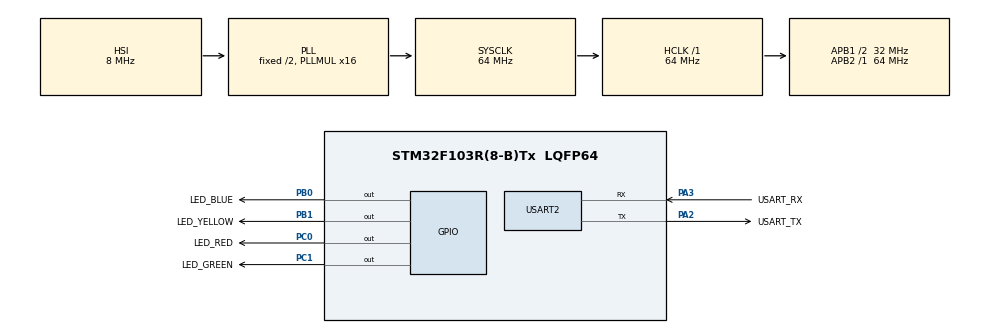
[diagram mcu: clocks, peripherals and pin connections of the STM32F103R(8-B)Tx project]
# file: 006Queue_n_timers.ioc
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Mcu.Family=STM32F1
Mcu.Name=STM32F103R(8-B)Tx
Mcu.Package=LQFP64
NVIC.PriorityGroup=NVIC_PRIORITYGROUP_4
NVIC.TIM4_IRQn=true\:15\:0\:false\:false\:true\:false\:true\:true
NVIC.TimeBase=TIM4_IRQn
NVIC.TimeBaseIP=TIM4
NVIC.USART2_IRQn=true\:6\:0\:true\:false\:true\:true\:true\:true
PA13.GPIO_Label=TMS
PA13.Mode=Serial_Wire
PA13.Signal=SYS_JTMS-SWDIO
PA14.GPIO_Label=TCK
PA14.Mode=Serial_Wire
PA14.Signal=SYS_JTCK-SWCLK
PA2.GPIO_Label=USART_TX
PA2.GPIO_Mode=GPIO_MODE_AF_PP
PA2.GPIO_PuPd=GPIO_NOPULL
PA2.GPIO_Speed=GPIO_SPEED_FREQ_LOW
PA2.Mode=Asynchronous
PA2.Signal=USART2_TX
PA3.GPIO_Label=USART_RX
PA3.GPIO_Mode=GPIO_MODE_AF_PP
PA3.GPIO_PuPd=GPIO_NOPULL
PA3.GPIO_Speed=GPIO_SPEED_FREQ_LOW
PA3.Mode=Asynchronous
PA3.Signal=USART2_RX
PB0.GPIO_Label=LED_BLUE
PB0.Signal=GPIO_Output
PB1.GPIO_Label=LED_YELLOW
PB1.Signal=GPIO_Output
PB3.GPIO_Label=SWO
PB3.Signal=SYS_JTDO-TRACESWO
PC0.GPIO_Label=LED_RED
PC0.Signal=GPIO_Output
PC1.GPIO_Label=LED_GREEN
PC1.Signal=GPIO_Output
PC14-OSC32_IN.Signal=RCC_OSC32_IN
PC15-OSC32_OUT.Signal=RCC_OSC32_OUT
PD0-OSC_IN.Signal=RCC_OSC_IN
PD1-OSC_OUT.Signal=RCC_OSC_OUT
ProjectManager.HeapSize=0x200
ProjectManager.StackSize=0x400
ProjectManager.TargetToolchain=STM32CubeIDE
RCC.AHBFreq_Value=64000000
RCC.APB1CLKDivider=RCC_HCLK_DIV2
RCC.APB1Freq_Value=32000000
RCC.APB1TimFreq_Value=64000000
RCC.APB2Freq_Value=64000000
RCC.APB2TimFreq_Value=64000000
RCC.HCLKFreq_Value=64000000
RCC.PLLMUL=RCC_PLL_MUL16
RCC.SYSCLKFreq_VALUE=64000000
RCC.SYSCLKSource=RCC_SYSCLKSOURCE_PLLCLK
RCC.USBFreq_Value=64000000
USART2.VirtualMode=VM_ASYNC
VP_RTC_VS_RTC_Activate.Mode=RTC_Enabled
VP_SYS_VS_tim4.Mode=TIM4
board=NUCLEO-F103RB

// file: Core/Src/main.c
/* USER CODE BEGIN Header */
/**
  ******************************************************************************
  * @file           : main.c
  * @brief          : Main program body
  ******************************************************************************
  * @attention
  *
  * Copyright (c) 2025 STMicroelectronics.
  * All rights reserved.
  *
  * This software is licensed under terms that can be found in the LICENSE file
  * in the root directory of this software component.
  * If no LICENSE file comes with this software, it is provided AS-IS.
  *
  ******************************************************************************
  */
/* USER CODE END Header */
#include "main.h"

/* USER CODE BEGIN Includes */
#include "FreeRTOS.h"
#include "task.h"
#include "queue.h"
/* USER CODE END Includes */

RTC_HandleTypeDef hrtc;

UART_HandleTypeDef huart2;

void SystemClock_Config(void);
static void MX_GPIO_Init(void);
static void MX_USART2_UART_Init(void);
static void MX_RTC_Init(void);
/* USER CODE BEGIN PFP */
void rtc_report_callback(TimerHandle_t xTimer);
void led_effect_callback(TimerHandle_t xTimer);
/* USER CODE END PFP */

/* USER CODE BEGIN 0 */
//#define DWT_CTRL	(*(volatile uint32_t*) 0xE0001000)

TaskHandle_t handle_menu_task;
TaskHandle_t handle_cmd_task;
TaskHandle_t handle_print_task;
TaskHandle_t handle_led_effect_task;
TaskHandle_t handle_rtc_task;

QueueHandle_t q_data;
QueueHandle_t q_print;

TimerHandle_t handle_led_timer[4];
TimerHandle_t rtc_timer;

volatile uint8_t user_data;

state_t curr_state = sMainMenu;
/* USER CODE END 0 */

int main(void)
{

  /* USER CODE BEGIN 1 */
  BaseType_t status;
  /* USER CODE END 1 */

  /* MCU Configuration--------------------------------------------------------*/

  /* Reset of all peripherals, Initializes the Flash interface and the Systick. */
  HAL_Init();

  /* Configure the system clock */
  SystemClock_Config();

  /* Initialize all configured peripherals */
  MX_GPIO_Init();
  MX_USART2_UART_Init();
  MX_RTC_Init();
  /* USER CODE BEGIN 2 */

  HAL_NVIC_SetPriorityGrouping(NVIC_PRIORITYGROUP_4);
  HAL_NVIC_SetPriority(PendSV_IRQn,  15, 0);
  HAL_NVIC_SetPriority(SysTick_IRQn, 15, 0);

  status = xTaskCreate(menu_task, "menu_task", 250, NULL, 2, &handle_menu_task);

  configASSERT(status == pdPASS);

  status = xTaskCreate(cmd_handler_task, "cmd_task", 250, NULL, 2, &handle_cmd_task);

  configASSERT(status == pdPASS);

  status = xTaskCreate(print_task, "print_task", 250, NULL, 2, &handle_print_task);

  configASSERT(status == pdPASS);

  status = xTaskCreate(led_effect_task, "LED_EFFECT_task", 250, NULL, 2, &handle_led_effect_task);

  configASSERT(status == pdPASS);

  status = xTaskCreate(rtc_task, "rtc_task", 250, NULL, 2, &handle_rtc_task);

  configASSERT(status == pdPASS);

  q_data = xQueueCreate(10, sizeof(char));

  configASSERT(q_data != NULL);

  q_print = xQueueCreate(10, sizeof(size_t));

  configASSERT(q_print != NULL);

  //create software timers
  for(int i=0; i<4; i++)
  {
	  handle_led_timer[i] = xTimerCreate("led_timer", pdMS_TO_TICKS(500), pdTRUE, (void*)(i+1), led_effect_callback);
  }

  rtc_timer = xTimerCreate ("rtc_report_timer",pdMS_TO_TICKS(1000),pdTRUE,NULL,rtc_report_callback);

  HAL_UART_Receive_IT(&huart2, (uint8_t *)&user_data, 1);

  vTaskStartScheduler();

  /* USER CODE END 2 */

  /* Infinite loop */
  while (1)
  {

  }
}

void SystemClock_Config(void)
{
  RCC_OscInitTypeDef RCC_OscInitStruct = {0};
  RCC_ClkInitTypeDef RCC_ClkInitStruct = {0};
  RCC_PeriphCLKInitTypeDef PeriphClkInit = {0};

  /** Initializes the RCC Oscillators according to the specified parameters
  * in the RCC_OscInitTypeDef structure.
  */
  RCC_OscInitStruct.OscillatorType = RCC_OSCILLATORTYPE_HSI|RCC_OSCILLATORTYPE_LSI;
  RCC_OscInitStruct.HSIState = RCC_HSI_ON;
  RCC_OscInitStruct.HSICalibrationValue = RCC_HSICALIBRATION_DEFAULT;
  RCC_OscInitStruct.LSIState = RCC_LSI_ON;
  RCC_OscInitStruct.PLL.PLLState = RCC_PLL_ON;
  RCC_OscInitStruct.PLL.PLLSource = RCC_PLLSOURCE_HSI_DIV2;
  RCC_OscInitStruct.PLL.PLLMUL = RCC_PLL_MUL16;
  if (HAL_RCC_OscConfig(&RCC_OscInitStruct) != HAL_OK)
  {
    Error_Handler();
  }

  /** Initializes the CPU, AHB and APB buses clocks
  */
  RCC_ClkInitStruct.ClockType = RCC_CLOCKTYPE_HCLK|RCC_CLOCKTYPE_SYSCLK
                              |RCC_CLOCKTYPE_PCLK1|RCC_CLOCKTYPE_PCLK2;
  RCC_ClkInitStruct.SYSCLKSource = RCC_SYSCLKSOURCE_PLLCLK;
  RCC_ClkInitStruct.AHBCLKDivider = RCC_SYSCLK_DIV1;
  RCC_ClkInitStruct.APB1CLKDivider = RCC_HCLK_DIV2;
  RCC_ClkInitStruct.APB2CLKDivider = RCC_HCLK_DIV1;

  if (HAL_RCC_ClockConfig(&RCC_ClkInitStruct, FLASH_LATENCY_2) != HAL_OK)
  {
    Error_Handler();
  }
  PeriphClkInit.PeriphClockSelection = RCC_PERIPHCLK_RTC;
  PeriphClkInit.RTCClockSelection = RCC_RTCCLKSOURCE_LSI;
  if (HAL_RCCEx_PeriphCLKConfig(&PeriphClkInit) != HAL_OK)
  {
    Error_Handler();
  }
}

static void MX_RTC_Init(void)
{

  /** Initialize RTC Only
  */
  hrtc.Instance = RTC;
  hrtc.Init.AsynchPrediv = RTC_AUTO_1_SECOND;
  hrtc.Init.OutPut = RTC_OUTPUTSOURCE_ALARM;
  if (HAL_RTC_Init(&hrtc) != HAL_OK)
  {
    Error_Handler();
  }

}

static void MX_USART2_UART_Init(void)
{

  huart2.Instance = USART2;
  huart2.Init.BaudRate = 115200;
  huart2.Init.WordLength = UART_WORDLENGTH_8B;
  huart2.Init.StopBits = UART_STOPBITS_1;
  huart2.Init.Parity = UART_PARITY_NONE;
  huart2.Init.Mode = UART_MODE_TX_RX;
  huart2.Init.HwFlowCtl = UART_HWCONTROL_NONE;
  huart2.Init.OverSampling = UART_OVERSAMPLING_16;
  if (HAL_UART_Init(&huart2) != HAL_OK)
  {
    Error_Handler();
  }

}

static void MX_GPIO_Init(void)
{
  GPIO_InitTypeDef GPIO_InitStruct = {0};

  /* GPIO Ports Clock Enable */
  __HAL_RCC_GPIOC_CLK_ENABLE();
  __HAL_RCC_GPIOD_CLK_ENABLE();
  __HAL_RCC_GPIOA_CLK_ENABLE();
  __HAL_RCC_GPIOB_CLK_ENABLE();

  /*Configure GPIO pin Output Level */
  HAL_GPIO_WritePin(GPIOC, LED_RED_Pin|LED_GREEN_Pin, GPIO_PIN_RESET);

  /*Configure GPIO pin Output Level */
  HAL_GPIO_WritePin(GPIOB, LED_BLUE_Pin|LED_YELLOW_Pin, GPIO_PIN_RESET);

  /*Configure GPIO pins : LED_RED_Pin LED_GREEN_Pin */
  GPIO_InitStruct.Pin = LED_RED_Pin|LED_GREEN_Pin;
  GPIO_InitStruct.Mode = GPIO_MODE_OUTPUT_PP;
  GPIO_InitStruct.Pull = GPIO_NOPULL;
  GPIO_InitStruct.Speed = GPIO_SPEED_FREQ_LOW;
  HAL_GPIO_Init(GPIOC, &GPIO_InitStruct);

  /*Configure GPIO pins : LED_BLUE_Pin LED_YELLOW_Pin */
  GPIO_InitStruct.Pin = LED_BLUE_Pin|LED_YELLOW_Pin;
  GPIO_InitStruct.Mode = GPIO_MODE_OUTPUT_PP;
  GPIO_InitStruct.Pull = GPIO_NOPULL;
  GPIO_InitStruct.Speed = GPIO_SPEED_FREQ_LOW;
  HAL_GPIO_Init(GPIOB, &GPIO_InitStruct);

}

/* USER CODE BEGIN 4 */
void rtc_report_callback( TimerHandle_t xTimer )
{
	show_time_date_itm();
}

void led_effect_callback(TimerHandle_t xTimer)
{
	 int id;
	 id = ( uint32_t ) pvTimerGetTimerID( xTimer );

	 switch(id)
	 {
	 case 1 :
		 LED_effect1();
		 break;
	 case 2:
		 LED_effect2();
		 break;
	 case 3:
		 LED_effect3();
		 break;
	 case 4:
		 LED_effect4();
		 break;
	 }
}

void HAL_UART_RxCpltCallback(UART_HandleTypeDef *huart)
{
	uint8_t dummy;

	for(uint32_t i = 0 ; i < 4000 ; i++);

	if(! xQueueIsQueueFullFromISR(q_data))
	{
		/*Enqueue data byte */
		xQueueSendFromISR(q_data , (void*)&user_data , NULL);
	}else{
		if(user_data == '\n')
		{
			/*Make sure that last data byte of the queue is '\n' */
			xQueueReceiveFromISR(q_data,(void*)&dummy,NULL);
			xQueueSendFromISR(q_data ,(void*)&user_data , NULL);
		}
	}

	/*Send notification to command handling task if user_data = '\n' */
	if( user_data == '\n' ){
		/*send notification to command handling task */
		xTaskNotifyFromISR (handle_cmd_task,0,eNoAction,NULL);
	}

	/* Enable UART data byte reception again in IT mode */
	 HAL_UART_Receive_IT(&huart2, (uint8_t*)&user_data, 1);
}

/* USER CODE END 4 */

void HAL_TIM_PeriodElapsedCallback(TIM_HandleTypeDef *htim)
{
  if (htim->Instance == TIM4)
  {
    HAL_IncTick();
  }
}

void Error_Handler(void)
{
  __disable_irq();
  while (1)
  {
  }
}
